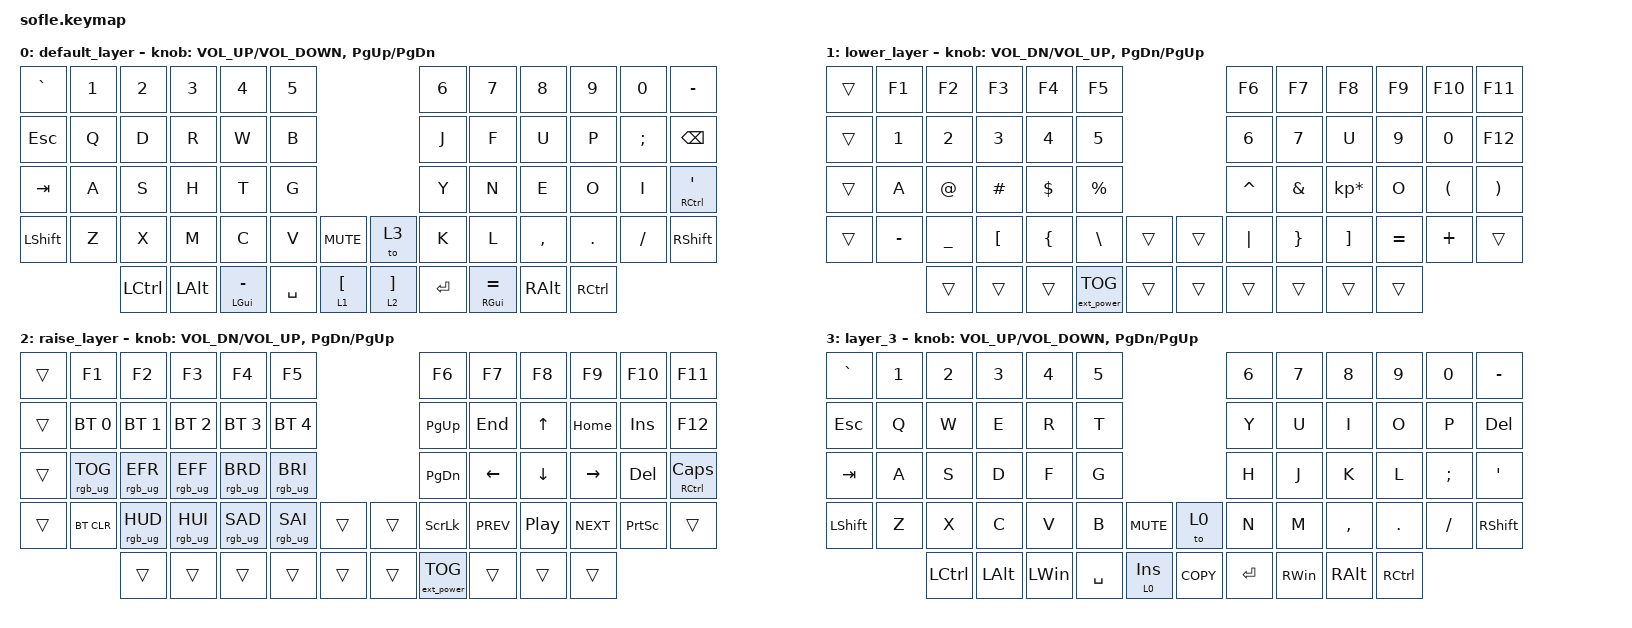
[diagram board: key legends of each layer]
/*
 * Copyright (c) 2020 The ZMK Contributors
 *
 * SPDX-License-Identifier: MIT
 */

#include <behaviors.dtsi>
#include <dt-bindings/zmk/bt.h>
#include <dt-bindings/zmk/ext_power.h>
#include <dt-bindings/zmk/keys.h>
#include <dt-bindings/zmk/rgb.h>

/ {
    keymap {
        compatible = "zmk,keymap";

        default_layer {
            // ------------------------------------------------------------------------------------------------------------
            // |  `    |  1  |  2  |  3   |  4   |  5   |                   |  6   |  7    |  8    |  9   |   0   |   \   |
            // |  TAB  |  Q  |  W  |  E   |  R   |  T   |                   |  Y   |  U    |  I    |  O   |   P   | BKSPC |
            // | C/ESC |  A  |  S  |  D   |  F   |  G   |                   |  H   |  J    |  K    |  L   |   ;   |  C/'  |
            // | SHIFT |  Z  |  X  |  C   |  V   |  B   |  MUTE  |  | PLAY  |  N   |  M    |  ,    |  .   |   /   | SHIFT |
            //               | CAPS| ALT  | GUI/-| SPACE|LOWER/[ |  |RAISE/]| ENTER|  GUI/=|  ALT  | CTRL |

            bindings = <
&kp GRAVE       &kp N1  &kp N2            &kp N3    &kp N4          &kp N5                               &kp N6   &kp N7          &kp N8     &kp N9     &kp N0         &kp MINUS
&kp ESCAPE      &kp Q   &kp D             &kp R     &kp W           &kp B                                &kp J    &kp F           &kp U      &kp P      &kp SEMICOLON  &kp BSPC
&kp TAB         &kp A   &kp S             &kp H     &kp T           &kp G                                &kp Y    &kp N           &kp E      &kp O      &kp I          &mt RCTRL SQT
&kp LEFT_SHIFT  &kp Z   &kp X             &kp M     &kp C           &kp V      &kp C_MUTE    &to 3       &kp K    &kp L           &kp COMMA  &kp DOT    &kp FSLH       &kp RSHFT
                        &kp LEFT_CONTROL  &kp LALT  &mt LGUI MINUS  &kp SPACE  &lt 1 LBKT    &lt 2 RBKT  &kp RET  &mt RGUI EQUAL  &kp RALT   &kp RCTRL
            >;

            sensor-bindings =
                <&inc_dec_kp C_VOLUME_UP C_VOLUME_DOWN>,
                <&inc_dec_kp PAGE_UP PAGE_DOWN>;
        };

        lower_layer {
            // ------------------------------------------------------------------------------------------------------------
            // |       |  F1 |  F2 |  F3  |  F4  |  F5  |                   |  F6  |  F7   |  F8   |  F9  |  F10  |  F11  |
            // |       |   1 |   2 |   3  |   4  |   5  |                   |   6  |   7   |   8   |   9  |    0  |  F12  |
            // |       |  !  |  @  |  #   |  $   |  %   |                   |  ^   |  &    |  *    |  (   |   )   |       |
            // |       |  -  |  _  |  [   |  {   |  \   |        |  |       |  |   |  }    |  ]    |  =   |   +   |       |
            //               |     |      |      |      |        |  |       |      |       |       |      |

            bindings = <
&trans  &kp F1     &kp F2     &kp F3    &kp F4    &kp F5                               &kp F6     &kp F7    &kp F8           &kp F9     &kp F10               &kp F11
&trans  &kp N1     &kp N2     &kp N3    &kp N4    &kp N5                               &kp N6     &kp N7    &kp U            &kp N9     &kp N0                &kp F12
&trans  &kp A      &kp AT     &kp HASH  &kp DLLR  &kp PRCNT                            &kp CARET  &kp AMPS  &kp KP_MULTIPLY  &kp O      &kp LEFT_PARENTHESIS  &kp RIGHT_PARENTHESIS
&trans  &kp MINUS  &kp UNDER  &kp LBKT  &kp LBRC  &kp BSLH           &trans    &trans  &kp PIPE   &kp RBRC  &kp RBKT         &kp EQUAL  &kp PLUS              &trans
                   &trans     &trans    &trans    &ext_power EP_TOG  &trans    &trans  &trans     &trans    &trans           &trans
            >;

            sensor-bindings = <&inc_dec_kp C_VOL_DN C_VOL_UP &inc_dec_kp PG_DN PG_UP>;
        };

        raise_layer {
            // ------------------------------------------------------------------------------------------------------------
            // |     |  F1  |  F2  |  F3   |  F4   |  F5  |                |  F6  |  F7  |  F8   |  F9  |  F10  |  F11  |
            // |     | BT1  | BT2  |  BT3  |  BT4  |  BT5 |                | PGUP |  END |   ^   | HOME |  INS  |  F12  |
            // |     | RGBT | RGB- | RGB+  |  BR-  |  BR+ |                | PGDN |   <- |   v   | ->   |  DEL  | C/CAPS|
            // |     |BTCLR | HUD  | HUI   |  SAD  |  SAI |      |  |      | SCRL | PRVS | PLAY  | NEXT |  PSCR |       |
            //              |      |       |       |      |      |  |      |      |      |       |      |

            bindings = <
&trans  &kp F1           &kp F2           &kp F3           &kp F4           &kp F5                             &kp F6             &kp F7      &kp F8    &kp F9      &kp F10    &kp F11
&trans  &bt BT_SEL 0     &bt BT_SEL 1     &bt BT_SEL 2     &bt BT_SEL 3     &bt BT_SEL 4                       &kp PG_UP          &kp END     &kp UP    &kp HOME    &kp INS    &kp F12
&trans  &rgb_ug RGB_TOG  &rgb_ug RGB_EFR  &rgb_ug RGB_EFF  &rgb_ug RGB_BRD  &rgb_ug RGB_BRI                    &kp PG_DN          &kp LEFT    &kp DOWN  &kp RIGHT   &kp DEL    &mt RCTRL CLCK
&trans  &bt BT_CLR       &rgb_ug RGB_HUD  &rgb_ug RGB_HUI  &rgb_ug RGB_SAD  &rgb_ug RGB_SAI  &trans    &trans  &kp SLCK           &kp C_PREV  &kp C_PP  &kp C_NEXT  &kp PSCRN  &trans
                         &trans           &trans           &trans           &trans           &trans    &trans  &ext_power EP_TOG  &trans      &trans    &trans
            >;

            sensor-bindings = <&inc_dec_kp C_VOL_DN C_VOL_UP &inc_dec_kp PG_DN PG_UP>;
        };

        layer_3 {
            bindings = <
&kp GRAVE  &kp NUMBER_1  &kp NUMBER_2  &kp NUMBER_3  &kp NUMBER_4  &kp N5                                 &kp NUMBER_6  &kp N7         &kp N8         &kp N9      &kp N0         &kp MINUS
&kp ESC    &kp Q         &kp W         &kp E         &kp R         &kp T                                  &kp Y         &kp U          &kp I          &kp O       &kp P          &kp DEL
&kp TAB    &kp A         &kp S         &kp D         &kp F         &kp G                                  &kp H         &kp J          &kp K          &kp L       &kp SEMICOLON  &kp SQT
&kp LSHFT  &kp Z         &kp X         &kp C         &kp V         &kp B      &kp K_MUTE      &to 0       &kp N         &kp M          &kp COMMA      &kp PERIOD  &kp SLASH      &kp RSHFT
                         &kp LCTRL     &kp LEFT_ALT  &kp LEFT_WIN  &kp SPACE  &lt 0 INSERT    &kp K_COPY  &kp ENTER     &kp RIGHT_WIN  &kp RIGHT_ALT  &kp RCTRL
            >;

            sensor-bindings =
                <&inc_dec_kp C_VOLUME_UP K_VOLUME_DOWN>,
                <&inc_dec_kp PAGE_DOWN PG_UP>;
        };
    };
};
